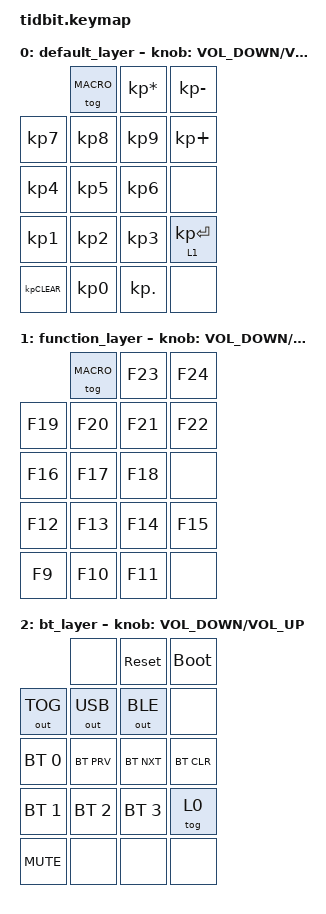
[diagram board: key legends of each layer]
/*
 * Copyright (c) 2020 The ZMK Contributors
 *
 * SPDX-License-Identifier: MIT
 */

#include <behaviors.dtsi>
#include <dt-bindings/zmk/bt.h>
#include <dt-bindings/zmk/outputs.h>
#include <dt-bindings/zmk/keys.h>

&encoder_1_top_row {
    status = "okay";
};

# define DEFAULT  0  
# define MACRO    1 

# define NONE     0

/ {
    sensors {
        compatible = "zmk,keymap-sensors";
        sensors = <&encoder_1_top_row>;
    };

    keymap {
        compatible = "zmk,keymap";

        default_layer {
            bindings = <
                                &tog MACRO &kp KP_ASTERISK &kp KP_MINUS
                &kp KP_NUMBER_7 &kp KP_NUMBER_8 &kp KP_NUMBER_9 &kp KP_PLUS
                &kp KP_NUMBER_4 &kp KP_NUMBER_5 &kp KP_NUMBER_6 &none
                &kp KP_NUMBER_1 &kp KP_NUMBER_2 &kp KP_NUMBER_3 &lt 1 KP_ENTER
                &kp KP_CLEAR &kp KP_NUMBER_0 &kp KP_DOT      &none
            >;


            sensor-bindings = <&inc_dec_kp C_VOLUME_DOWN C_VOLUME_UP>;
        };

        function_layer {
            bindings = <
                                &tog MACRO &kp F23 &kp F24
                &kp F19 &kp F20 &kp F21 &kp F22
                &kp F16 &kp F17 &kp F18 &none
                &kp F12 &kp F13 &kp F14 &kp F15
                &kp F9 &kp F10 &kp F11 &none
            >;

            sensor-bindings = <&inc_dec_kp C_VOLUME_DOWN C_VOLUME_UP>;
        };

         bt_layer {
             bindings = <
                                &none           &sys_reset          &bootloader
                &out OUT_TOG    &out OUT_USB    &out OUT_BLE    &none
                &bt BT_SEL 0    &bt BT_PRV      &bt BT_NXT      &bt BT_CLR
                &bt BT_SEL 1    &bt BT_SEL 2    &bt BT_SEL 3    &tog 0
                &kp C_MUTE      &none           &none           &none
             >;

            sensor-bindings = <&inc_dec_kp C_VOLUME_DOWN C_VOLUME_UP>;
         };
    };
};
